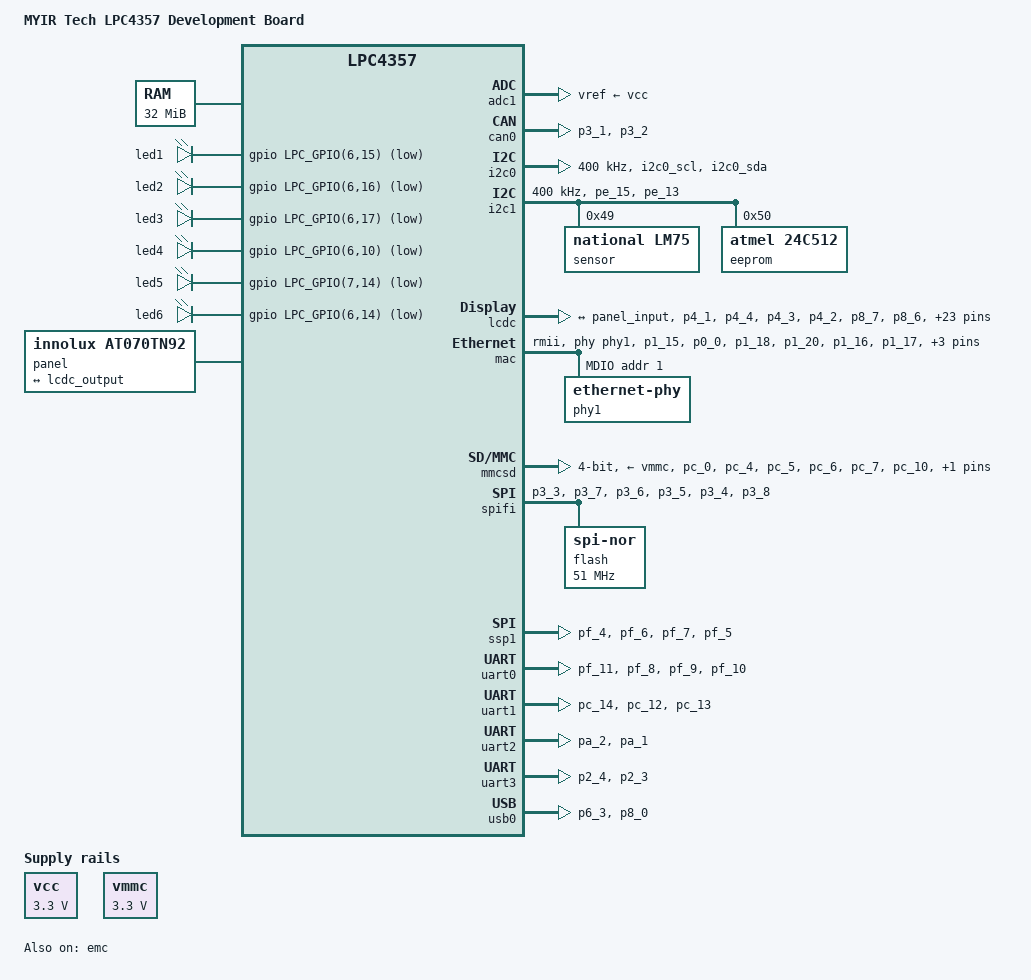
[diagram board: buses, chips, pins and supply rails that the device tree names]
// SPDX-License-Identifier: (GPL-2.0+ OR BSD-3-Clause)
/*
 * MYIR Tech MYD-LPC4357 Development Board with 800x480 7" TFT panel
 *
 * Copyright (C) 2016-2018 Vladimir Zapolskiy <vz@mleia.com>
 */

/dts-v1/;

#include "lpc18xx.dtsi"
#include "lpc4357.dtsi"

#include <dt-bindings/gpio/gpio.h>

/ {
	model = "MYIR Tech LPC4357 Development Board";
	compatible = "myir,myd-lpc4357", "nxp,lpc4357";

	chosen {
		stdout-path = "serial3:115200n8";
	};

	memory@28000000 {
		device_type = "memory";
		reg = <0x28000000 0x2000000>;
	};

	leds {
		compatible = "gpio-leds";
		pinctrl-names = "default";
		pinctrl-0 = <&led_pins>;

		led1 {
			gpios = <&gpio LPC_GPIO(6,15) GPIO_ACTIVE_LOW>;
			default-state = "off";
		};

		led2 {
			gpios = <&gpio LPC_GPIO(6,16) GPIO_ACTIVE_LOW>;
			default-state = "off";
		};

		led3 {
			gpios = <&gpio LPC_GPIO(6,17) GPIO_ACTIVE_LOW>;
			default-state = "off";
		};

		led4 {
			gpios = <&gpio LPC_GPIO(6,10) GPIO_ACTIVE_LOW>;
			default-state = "off";
		};

		led5 {
			gpios = <&gpio LPC_GPIO(7,14) GPIO_ACTIVE_LOW>;
			default-state = "off";
		};

		led6 {
			gpios = <&gpio LPC_GPIO(6,14) GPIO_ACTIVE_LOW>;
			default-state = "off";
		};
	};

	panel: panel {
		compatible = "innolux,at070tn92";

		port {
			panel_input: endpoint {
				remote-endpoint = <&lcdc_output>;
			};
		};
	};

	vcc: vcc_fixed {
		compatible = "regulator-fixed";
		regulator-name = "vcc-supply";
		regulator-min-microvolt = <3300000>;
		regulator-max-microvolt = <3300000>;
	};

	vmmc: vmmc_fixed {
		compatible = "regulator-fixed";
		regulator-name = "vmmc-supply";
		regulator-min-microvolt = <3300000>;
		regulator-max-microvolt = <3300000>;
	};
};

&pinctrl {
	can0_pins: can0-pins {
		can_rd_cfg {
			pins = "p3_1";
			function = "can0";
			input-enable;
		};

		can_td_cfg {
			pins = "p3_2";
			function = "can0";
		};
	};

	can1_pins: can1-pins {
		can_rd_cfg {
			pins = "pe_1";
			function = "can1";
			input-enable;
		};

		can_td_cfg {
			pins = "pe_0";
			function = "can1";
		};
	};

	emc_pins: emc-pins {
		emc_addr0_22_cfg {
			pins = "p2_9",  "p2_10", "p2_11", "p2_12",
			       "p2_13", "p1_0",  "p1_1",  "p1_2",
			       "p2_8",  "p2_7",  "p2_6",  "p2_2",
			       "p2_1",  "p2_0",  "p6_8",  "p6_7",
			       "pd_16", "pd_15", "pe_0",  "pe_1",
			       "pe_2",  "pe_3",  "pe_4";
			function = "emc";
			slew-rate = <1>;
			bias-disable;
		};

		emc_data0_15_cfg {
			pins = "p1_7",  "p1_8",  "p1_9",  "p1_10",
			       "p1_11", "p1_12", "p1_13", "p1_14",
			       "p5_4",  "p5_5",  "p5_6",  "p5_7",
			       "p5_0",  "p5_1",  "p5_2",  "p5_3";
			function = "emc";
			input-enable;
			input-schmitt-disable;
			slew-rate = <1>;
			bias-disable;
		};

		emc_we_oe_cfg {
			pins = "p1_6", "p1_3";
			function = "emc";
			slew-rate = <1>;
			bias-disable;
		};

		emc_cs0_cfg {
			pins = "p1_5";
			function = "emc";
			slew-rate = <1>;
			bias-disable;
		};

		emc_sdram_dqm0_1_cfg {
			pins = "p6_12", "p6_10";
			function = "emc";
			slew-rate = <1>;
			bias-disable;
		};

		emc_sdram_ras_cas_cfg {
			pins = "p6_5", "p6_4";
			function = "emc";
			slew-rate = <1>;
			bias-disable;
		};

		emc_sdram_dycs0_cfg {
			pins = "p6_9";
			function = "emc";
			slew-rate = <1>;
			bias-disable;
		};

		emc_sdram_cke_cfg {
			pins = "p6_11";
			function = "emc";
			slew-rate = <1>;
			bias-disable;
		};

		emc_sdram_clock_cfg {
			pins = "clk0";
			function = "emc";
			input-enable;
			input-schmitt-disable;
			slew-rate = <1>;
			bias-disable;
		};
	};

	enet_rmii_pins: enet-rmii-pins {
		enet_rmii_rxd_cfg {
			pins = "p1_15", "p0_0";
			function = "enet";
			input-enable;
			input-schmitt-disable;
			slew-rate = <1>;
			bias-disable;
		};

		enet_rmii_txd_cfg {
			pins = "p1_18", "p1_20";
			function = "enet";
			slew-rate = <1>;
			bias-disable;
		};

		enet_rmii_rx_dv_cfg {
			pins = "p1_16";
			function = "enet";
			input-enable;
			input-schmitt-disable;
			bias-disable;
		};

		enet_mdio_cfg {
			pins = "p1_17";
			function = "enet";
			input-enable;
			input-schmitt-disable;
			bias-disable;
		};

		enet_mdc_cfg {
			pins = "pc_1";
			function = "enet";
			slew-rate = <1>;
			bias-disable;
		};

		enet_rmii_tx_en_cfg {
			pins = "p0_1";
			function = "enet";
			bias-disable;
		};

		enet_ref_clk_cfg {
			pins = "p1_19";
			function = "enet";
			slew-rate = <1>;
			input-enable;
			input-schmitt-disable;
			bias-disable;
		};
	};

	i2c0_pins: i2c0-pins {
		i2c0_pins_cfg {
			pins = "i2c0_scl", "i2c0_sda";
			function = "i2c0";
			input-enable;
		};
	};

	i2c1_pins: i2c1-pins {
		i2c1_pins_cfg {
			pins = "pe_15", "pe_13";
			function = "i2c1";
			input-enable;
		};
	};

	lcd_pins: lcd-pins {
		lcd_vd0_23_cfg {
			pins = "p4_1", "p4_4", "p4_3",  "p4_2",
			       "p8_7", "p8_6", "p8_5",  "p8_4",
			       "p7_5", "p4_8", "p4_10", "p4_9",
			       "p8_3", "pb_6", "pb_5",  "pb_4",
			       "p7_4", "p7_3", "p7_2",  "p7_1",
			       "pb_3", "pb_2", "pb_1",  "pb_0";
			function = "lcd";
		};

		lcd_vsync_en_dclk_lp_pwr_cfg {
			pins = "p4_5", "p4_6", "p4_7", "p7_6", "p7_7";
			function = "lcd";
		};
	};

	led_pins: led-pins {
		led_1_6_cfg {
			pins = "pd_1", "pd_2", "pd_3", "pc_11", "pe_14", "pd_0";
			function = "gpio";
			bias-pull-down;
		};
	};

	sdmmc_pins: sdmmc-pins {
		sdmmc_clk_cfg {
			pins = "pc_0";
			function = "sdmmc";
			slew-rate = <1>;
			bias-pull-down;
		};

		sdmmc_cmd_dat0_3_cfg {
			pins = "pc_4", "pc_5", "pc_6", "pc_7", "pc_10";
			function = "sdmmc";
			input-enable;
			input-schmitt-disable;
			slew-rate = <1>;
			bias-disable;
		};

		sdmmc_cd_cfg {
			pins = "pc_8";
			function = "sdmmc";
			input-enable;
			bias-pull-down;
		};
	};

	spifi_pins: spifi-pins {
		spifi_sck_cfg {
			pins = "p3_3";
			function = "spifi";
			input-enable;
			input-schmitt-disable;
			slew-rate = <1>;
			bias-disable;
		};

		spifi_mosi_miso_sio2_sio3_cfg {
			pins = "p3_7", "p3_6", "p3_5", "p3_4";
			function = "spifi";
			input-enable;
			input-schmitt-disable;
			slew-rate = <1>;
			bias-disable;
		};

		spifi_cs_cfg {
			pins = "p3_8";
			function = "spifi";
			bias-disable;
		};
	};

	ssp1_pins: ssp1-pins {
		ssp1_sck_cfg {
			pins = "pf_4";
			function = "ssp1";
			slew-rate = <1>;
			bias-pull-down;
		};

		ssp1_miso_cfg {
			pins = "pf_6";
			function = "ssp1";
			input-enable;
			input-schmitt-disable;
			slew-rate = <1>;
			bias-pull-down;
		};

		ssp1_mosi_cfg {
			pins = "pf_7";
			function = "ssp1";
			slew-rate = <1>;
			bias-pull-down;
		};

		ssp1_ssel_cfg {
			pins = "pf_5";
			function = "gpio";
			bias-disable;
		};
	};

	uart0_pins: uart0-pins {
		uart0_rxd_cfg {
			pins = "pf_11";
			function = "uart0";
			input-enable;
			input-schmitt-disable;
			bias-disable;
		};

		uart0_clk_dir_txd_cfg {
			pins = "pf_8", "pf_9", "pf_10";
			function = "uart0";
			bias-pull-down;
		};
	};

	uart1_pins: uart1-pins {
		uart1_rxd_cfg {
			pins = "pc_14";
			function = "uart1";
			bias-disable;
			input-enable;
			input-schmitt-disable;
		};

		uart1_dtr_txd_cfg {
			pins = "pc_12", "pc_13";
			function = "uart1";
			bias-pull-down;
		};
	};

	uart2_pins: uart2-pins {
		uart2_rxd_cfg {
			pins = "pa_2";
			function = "uart2";
			bias-disable;
			input-enable;
			input-schmitt-disable;
		};

		uart2_txd_cfg {
			pins = "pa_1";
			function = "uart2";
			bias-pull-down;
		};
	};

	uart3_pins: uart3-pins {
		uart3_rx_cfg {
			pins = "p2_4";
			function = "uart3";
			bias-disable;
			input-enable;
			input-schmitt-disable;
		};

		uart3_tx_cfg {
			pins = "p2_3";
			function = "uart3";
			bias-pull-down;
		};
	};

	usb0_pins: usb0-pins {
		usb0_pwr_enable_cfg {
			pins = "p6_3";
			function = "usb0";
		};

		usb0_pwr_fault_cfg {
			pins = "p8_0";
			function = "usb0";
			bias-disable;
			input-enable;
		};
	};
};

&adc1 {
	status = "okay";
	vref-supply = <&vcc>;
};

&can0 {
	status = "okay";
	pinctrl-names = "default";
	pinctrl-0 = <&can0_pins>;
};

/* Pin conflict with EMC, muxed by JP5 and JP6 */
&can1 {
	status = "disabled";
	pinctrl-names = "default";
	pinctrl-0 = <&can1_pins>;
};

&emc {
	status = "okay";
	pinctrl-names = "default";
	pinctrl-0 = <&emc_pins>;

	cs0 {
		#address-cells = <2>;
		#size-cells = <1>;
		ranges;

		mpmc,cs = <0>;
		mpmc,memory-width = <16>;
		mpmc,byte-lane-low;
		mpmc,write-enable-delay = <0>;
		mpmc,output-enable-delay = <0>;
		mpmc,read-access-delay = <70>;
		mpmc,page-mode-read-delay = <70>;

		/* SST/Microchip SST39VF1601 */
		flash@0,0 {
			compatible = "cfi-flash";
			reg = <0 0 0x400000>;
			bank-width = <2>;
		};
	};
};

&enet_tx_clk {
	clock-frequency = <50000000>;
};

&i2c0 {
	status = "okay";
	pinctrl-names = "default";
	pinctrl-0 = <&i2c0_pins>;
	clock-frequency = <400000>;
};

&i2c1 {
	status = "okay";
	pinctrl-names = "default";
	pinctrl-0 = <&i2c1_pins>;
	clock-frequency = <400000>;

	sensor@49 {
		compatible = "national,lm75";
		reg = <0x49>;
	};

	eeprom@50 {
		compatible = "atmel,24c512";
		reg = <0x50>;
	};
};

&lcdc {
	status = "okay";
	pinctrl-names = "default";
	pinctrl-0 = <&lcd_pins>;

	max-memory-bandwidth = <92240000>;

	port {
		lcdc_output: endpoint {
			remote-endpoint = <&panel_input>;
			arm,pl11x,tft-r0g0b0-pads = <0 8 16>;
		};
	};
};

&mac {
	status = "okay";
	phy-mode = "rmii";
	pinctrl-names = "default";
	pinctrl-0 = <&enet_rmii_pins>;
	phy-handle = <&phy1>;

	mdio0 {
		#address-cells = <1>;
		#size-cells = <0>;
		compatible = "snps,dwmac-mdio";

		phy1: ethernet-phy@1 {
			reg = <1>;
		};
	};
};

&mmcsd {
	status = "okay";
	pinctrl-names = "default";
	pinctrl-0 = <&sdmmc_pins>;
	bus-width = <4>;
	vmmc-supply = <&vmmc>;
};

/* Pin conflict with SSP0, the latter is routed to J17 pin header */
&spifi {
	status = "okay";
	pinctrl-names = "default";
	pinctrl-0 = <&spifi_pins>;

	/* Atmel AT25DF321A */
	flash {
		compatible = "jedec,spi-nor";
		spi-max-frequency = <51000000>;
		spi-cpol;
		spi-cpha;
	};
};

&ssp1 {
	status = "okay";
	pinctrl-names = "default";
	pinctrl-0 = <&ssp1_pins>;
	num-cs = <1>;
	cs-gpios = <&gpio LPC_GPIO(7,19) GPIO_ACTIVE_LOW>;
};

/* Routed to J17 pin header */
&uart0 {
	status = "okay";
	pinctrl-names = "default";
	pinctrl-0 = <&uart0_pins>;
};

/* RS485 */
&uart1 {
	status = "okay";
	pinctrl-names = "default";
	pinctrl-0 = <&uart1_pins>;
};

/* Routed to J17 pin header */
&uart2 {
	status = "okay";
	pinctrl-names = "default";
	pinctrl-0 = <&uart2_pins>;
};

&uart3 {
	status = "okay";
	pinctrl-names = "default";
	pinctrl-0 = <&uart3_pins>;
};

&usb0 {
	status = "okay";
	pinctrl-names = "default";
	pinctrl-0 = <&usb0_pins>;
};
